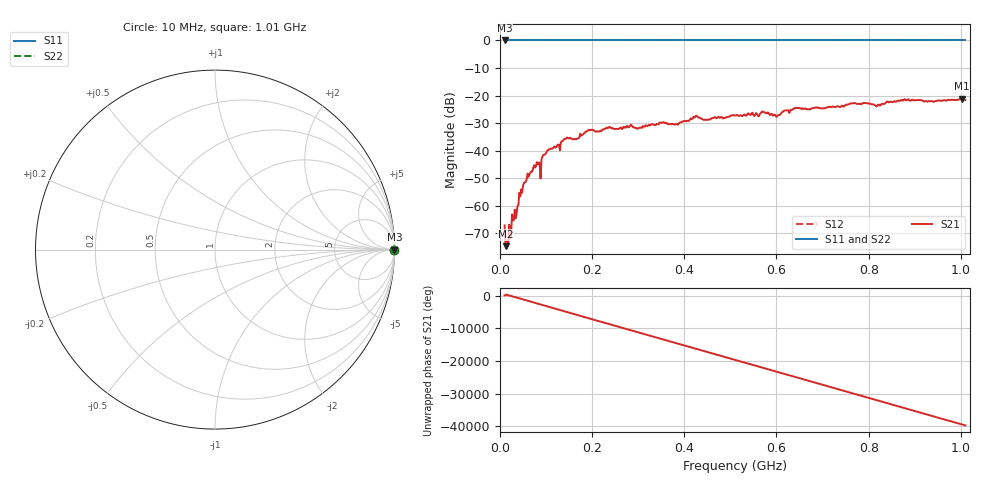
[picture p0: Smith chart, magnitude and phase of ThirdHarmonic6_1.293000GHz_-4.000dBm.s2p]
! 8/16/2025 2:09:33 PM
! C:\ANRITSUVNA\TEMP\TEMP.S2P
! CHANNEL.1
! TR.MEASUREMENT
! RAW.DATA
! RF.CORRECTION.OFF
! AVERAGING.OFF
! IF.BANDWIDTH: 5KHZ
! SWEEPTYPE:  FREQ.SWEEP(Linear)
! Reference Plane Port Info
! PORT:  PORT1  PORT2
! DISTANCE:  0  m  0  m
! TIME:  0  s  0  s
! PHASE.OFFSET:  0  deg.  0  deg.
! LOSS:  0  dB  0  dB
! REF.LOSS:  0  dB  0  dB
! REF.FREQ:  0  Hz  0  Hz
! Power Info
! POWER:  -20  dBm  -20  dBm
! EFF.POWER:  -20  dBm  -20  dBm
! SOURCE.ATTEN:  0  dB  0  dB
! TEST.ATTEN:  0  dB  0  dB
# GHZ S RI R 50.0
! FREQ.GHZ  S11RE  S11IM  S21RE  S21IM  S12RE  S12IM  S22RE  S22IM
!; PortSelection: Port_12
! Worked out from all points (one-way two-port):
!   501 points, 10 MHz to 1.01 GHz, reference 50 ohm
!   highest |S21| = -21.13 dB at 1.002 GHz (marker M1); lowest = -74.6 dB at 12 MHz (marker M2)
!   lowest |S11| = 0.0 dB at 10 MHz (marker M3)
!   |S11| at or under -10 dB: nowhere
!   |S22| runs from 0.0 to 0.0 dB; largest |S21 - S12| = 1.1
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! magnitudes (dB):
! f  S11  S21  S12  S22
! 10 MHz  0.0  -67.1  0.0  0.0
! 12 MHz  0.0  -74.6  0.0  0.0
! 14 MHz  0.0  -73.7  0.0  0.0
! 20 MHz  0.0  -66.8  0.0  0.0
! 46 MHz  0.0  -54.0  0.0  0.0
! 76 MHz  0.0  -46.1  0.0  0.0
! 86 MHz  0.0  -44.6  0.0  0.0
! 94 MHz  0.0  -41.5  0.0  0.0
! 106 MHz  0.0  -39.4  0.0  0.0
! 142 MHz  0.0  -35.8  0.0  0.0
! 166 MHz  0.0  -35.8  0.0  0.0
! 178 MHz  0.0  -34.2  0.0  0.0
! 196 MHz  0.0  -32.5  0.0  0.0
! 344 MHz  0.0  -30.4  0.0  0.0
! 510 MHz  0.0  -27.2  0.0  0.0
! 572 MHz  0.0  -26.0  0.0  0.0
! 602 MHz  0.0  -27.4  0.0  0.0
! 640 MHz  0.0  -24.5  0.0  0.0
! 678 MHz  0.0  -24.6  0.0  0.0
! 844 MHz  0.0  -22.5  0.0  0.0
! 1.002 GHz  0.0  -21.1  0.0  0.0
! 1.01 GHz  0.0  -21.6  0.0  0.0
